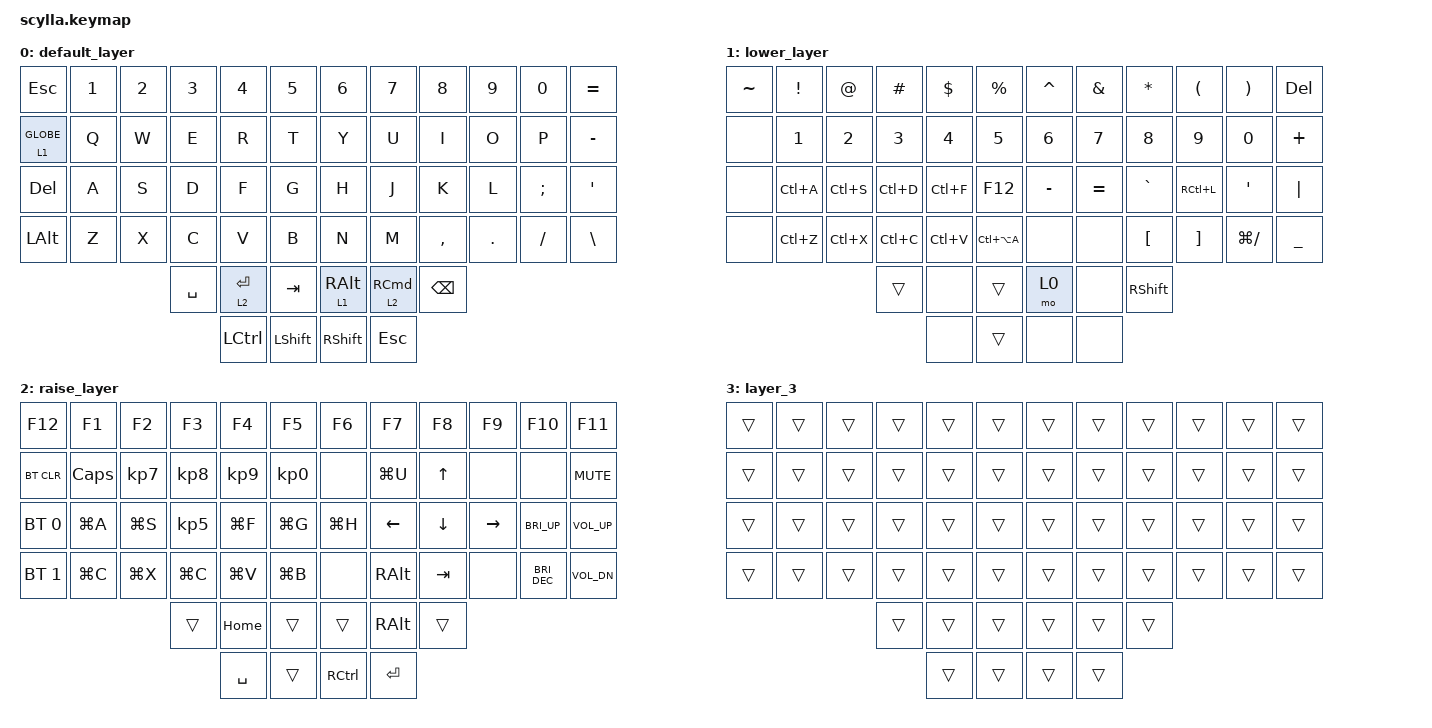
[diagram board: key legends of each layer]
#include <behaviors.dtsi>
#include <dt-bindings/zmk/bt.h>
#include <dt-bindings/zmk/keys.h>

#define DEFAULT 0
#define LWR 1
#define RSE 2
#define ADJ 3

/ {
    combos {
        compatible = "zmk,combos";

        combo1 {
            bindings = <&kp LBKT>;
            key-positions = <15 16>;
        };

        combo2 {
            bindings = <&kp RBKT>;
            key-positions = <19 20>;
        };

        combo3 {
            bindings = <&kp LEFT_PARENTHESIS>;
            key-positions = <27 28>;
        };

        combo4 {
            bindings = <&kp RIGHT_PARENTHESIS>;
            key-positions = <31 32>;
        };

        combo5 {
            bindings = <&kp LEFT_BRACE>;
            key-positions = <39 40>;
        };

        combo6 {
            bindings = <&kp RIGHT_BRACE>;
            key-positions = <43 44>;
        };

        combo7 {
            bindings = <&kp BACKSLASH>;
            key-positions = <17 18>;
        };

        combo8 {
            bindings = <&kp PIPE>;
            key-positions = <29 30>;
        };

        combo9 {
            bindings = <&kp ESC>;
            key-positions = <13 14>;
        };

        combo10 {
            bindings = <&kp TAB>;
            key-positions = <25 26>;
        };
    };

    behaviors {
        ltq: ltq {
            compatible = "zmk,behavior-hold-tap";
            label = "LTQ";
            bindings = <&mo>, <&kp>;

            #binding-cells = <2>;
            tapping-term-ms = <200>;
            quick-tap-ms = <180>;
            global-quick-tap;
        };
    };

    keymap {
        compatible = "zmk,keymap";

        default_layer {
            bindings = <
&kp ESC       &kp N1  &kp N2  &kp N3     &kp N4            &kp N5            &kp N6            &kp N7                &kp N8         &kp N9   &kp N0    &kp EQUAL
&lt 1 GLOBE   &kp Q   &kp W   &kp E      &kp R             &kp T             &kp Y             &kp U                 &kp I          &kp O    &kp P     &kp MINUS
&kp DELETE    &kp A   &kp S   &kp D      &kp F             &kp G             &kp H             &kp J                 &kp K          &kp L    &kp SEMI  &kp SQT
&kp LEFT_ALT  &kp Z   &kp X   &kp C      &kp V             &kp B             &kp N             &kp M                 &kp COMMA      &kp DOT  &kp FSLH  &kp BSLH
                              &kp SPACE  &lt 2 ENTER       &kp TAB           &ltq 1 RIGHT_ALT  &ltq 2 RIGHT_COMMAND  &kp BACKSPACE
                                         &kp LEFT_CONTROL  &kp LEFT_SHIFT    &kp RIGHT_SHIFT   &kp ESC
            >;
        };

        lower_layer {
            bindings = <
&kp TILDE  &kp EXCL      &kp AT        &kp HASH      &kp DLLR      &kp PRCNT        &kp CARET     &kp AMPS      &kp ASTRK        &kp LPAR      &kp RPAR       &kp DEL
&none      &kp NUMBER_1  &kp NUMBER_2  &kp NUMBER_3  &kp NUMBER_4  &kp NUMBER_5     &kp NUMBER_6  &kp NUMBER_7  &kp NUMBER_8     &kp NUMBER_9  &kp NUMBER_0   &kp PLUS
&none      &kp LC(A)     &kp LC(S)     &kp LC(D)     &kp LC(F)     &kp F12          &kp MINUS     &kp EQUAL     &kp GRAVE        &kp RC(L)     &kp SQT        &kp PIPE
&none      &kp LC(Z)     &kp LC(X)     &kp LC(C)     &kp LC(V)     &kp LC(LA(A))    &none         &none         &kp LBKT         &kp RBKT      &kp LG(SLASH)  &kp UNDER
                                       &trans        &none         &trans           &mo 0         &none         &kp RIGHT_SHIFT
                                                     &none         &trans           &none         &none
            >;
        };

        raise_layer {
            bindings = <
&kp F12       &kp F1     &kp F2           &kp F3           &kp F4           &kp F5             &kp F6     &kp F7         &kp F8    &kp F9     &kp F10        &kp F11
&bt BT_CLR    &kp CAPS   &kp KP_NUMBER_7  &kp KP_NUMBER_8  &kp KP_NUMBER_9  &kp KP_NUMBER_0    &none      &kp LG(U)      &kp UP    &none      &none          &kp C_MUTE
&bt BT_SEL 0  &kp LG(A)  &kp LG(S)        &kp KP_NUMBER_5  &kp LG(F)        &kp LG(G)          &kp LG(H)  &kp LEFT       &kp DOWN  &kp RIGHT  &kp C_BRI_UP   &kp C_VOL_UP
&bt BT_SEL 1  &kp LG(C)  &kp LG(X)        &kp LG(C)        &kp LG(V)        &kp LG(B)          &none      &kp RIGHT_ALT  &kp TAB   &none      &kp C_BRI_DEC  &kp C_VOL_DN
                                          &trans           &kp HOME         &trans             &trans     &kp RALT       &trans
                                                           &kp SPACE        &trans             &kp RCTRL  &kp RET
            >;
        };

        layer_3 {
            bindings = <
&trans  &trans  &trans  &trans  &trans  &trans    &trans  &trans  &trans  &trans  &trans  &trans
&trans  &trans  &trans  &trans  &trans  &trans    &trans  &trans  &trans  &trans  &trans  &trans
&trans  &trans  &trans  &trans  &trans  &trans    &trans  &trans  &trans  &trans  &trans  &trans
&trans  &trans  &trans  &trans  &trans  &trans    &trans  &trans  &trans  &trans  &trans  &trans
                        &trans  &trans  &trans    &trans  &trans  &trans
                                &trans  &trans    &trans  &trans
            >;
        };
    };
};
